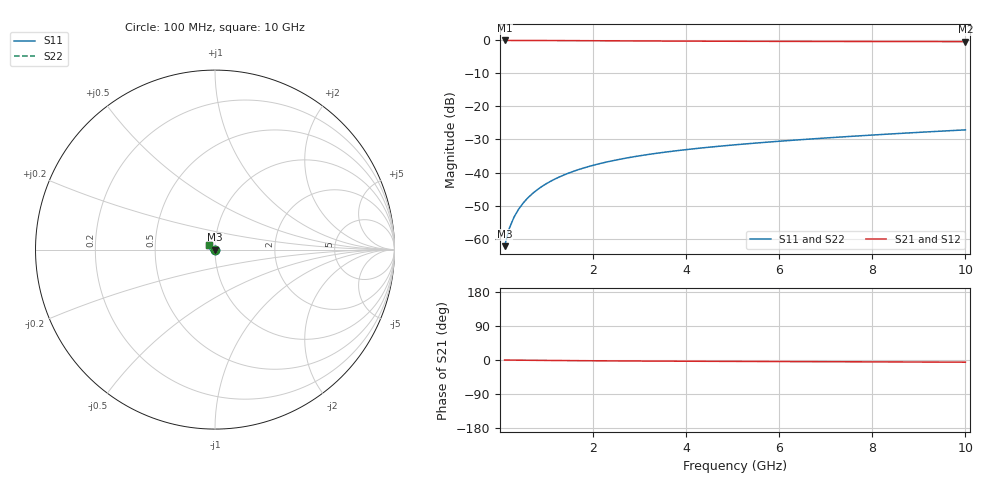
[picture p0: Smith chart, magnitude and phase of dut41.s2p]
! Touchstone file exported from HFSS 2024.1.0
!  File:  C:/UserFiles/LocalFiles/RDL_TSV_Batchsim/temp_TSV1_41_1779371103.aedt
!  Generated:  09:51:37 PM May 21, 2026
!  Design:  TSV1
!  Project:  temp_TSV1_41_1779371103
!  Setup:  Setup1
!  Solution:  Sweep
! Variables:
!  dtsv = 6.66um
!  hbump = 3um
!  htsv = 83.99um
!  lrdl = 252.1521522um
!  p = 40
!  p1 = 57.86um
!  t = 500um
!  trdl = 3um
!  wrdl = 24.89489489um
# GHz S MA R 50.000000
! Terminal data exported
! Port[1] = TSV22_T1
! Port[2] = TSV22_T2
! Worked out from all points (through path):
!   100 points, 100 MHz to 10 GHz, reference 50 ohm
!   highest |S21| = 0.00 dB at 100 MHz (marker M1); lowest = -0.4 dB at 10 GHz (marker M2)
!   lowest |S11| = -62.3 dB at 100 MHz (marker M3), VSWR 1.00, Z = 50 - j0.0705 ohm
!   |S11| at or under -10 dB: start of sweep to end of sweep
!   |S22| runs from -62.3 to -27.1 dB; largest |S21 - S12| = 6.1e-15
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0.1  0.0007665 -66.8  0.9996 -0.1  0.9996 -0.1  0.0007665 -66.8
! Gamma 0 0 0 0
! Port Impedance 50 0 50 0
0.2  0.001421 -81.5  0.9995 -0.2  0.9995 -0.2  0.001421 -81.5
0.3  0.002097 -88.4  0.9994 -0.3  0.9994 -0.3  0.002097 -88.4
0.4  0.002777 -93.1  0.9991 -0.5  0.9991 -0.5  0.002777 -93.1
0.5  0.003457 -96.9  0.9989 -0.6  0.9989 -0.6  0.003457 -96.9
0.6  0.004134 -100.2  0.9985 -0.7  0.9985 -0.7  0.004134 -100.2
0.7  0.004808 -103.3  0.9981 -0.8  0.9981 -0.8  0.004808 -103.3
0.8  0.005476 -106.1  0.9977 -0.9  0.9977 -0.9  0.005476 -106.1
0.9  0.006139 -108.9  0.9972 -1.0  0.9972 -1.0  0.006139 -108.9
1.1  0.007442 -114.1  0.9962 -1.2  0.9962 -1.2  0.007442 -114.1
1.4  0.009332 -121.3  0.9943 -1.5  0.9943 -1.5  0.009332 -121.3
1.6  0.01054 -125.9  0.993 -1.7  0.993 -1.7  0.01054 -125.9
1.8  0.01171 -130.3  0.9916 -1.9  0.9916 -1.9  0.01171 -130.3
2.1  0.01339 -136.5  0.9894 -2.1  0.9894 -2.1  0.01339 -136.5
2.5  0.01549 -144.4  0.9864 -2.4  0.9864 -2.4  0.01549 -144.4
2.9  0.01744 -151.6  0.9836 -2.6  0.9836 -2.6  0.01744 -151.6
3.4  0.0197 -159.8  0.9803 -2.9  0.9803 -2.9  0.0197 -159.8
4.2  0.02301 -171.5  0.9757 -3.3  0.9757 -3.3  0.02301 -171.5
5.1  0.02645 177.5  0.9716 -3.7  0.9716 -3.7  0.02645 177.5
6.7  0.03226 162.0  0.9663 -4.4  0.9663 -4.4  0.03226 162.0
8.4  0.03837 149.6  0.9626 -5.1  0.9626 -5.1  0.03837 149.6
10  0.04424 140.6  0.96 -5.8  0.96 -5.8  0.04424 140.6
